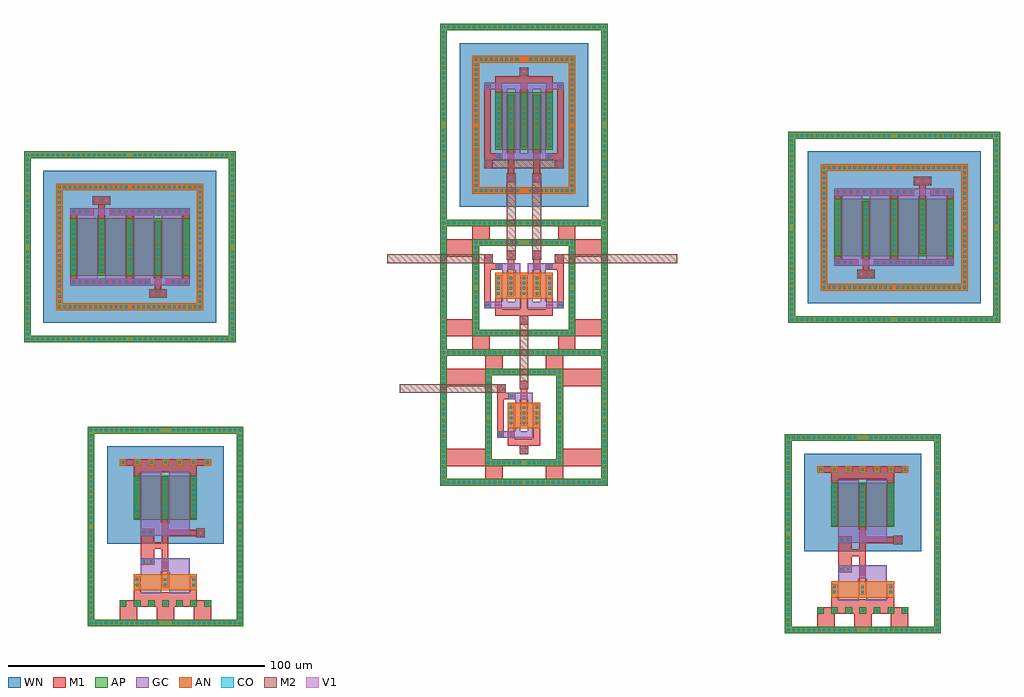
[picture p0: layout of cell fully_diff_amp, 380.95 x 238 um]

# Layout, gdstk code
from math import pi, radians
import gdstk
lib = gdstk.Library(unit=1e-6, precision=1e-09)
def R(c, l, rs):  # rectangles x0, y0, x1, y1
    for r in rs: c.add(gdstk.rectangle(r[:2], r[2:], *l))
def A(c, l, x, y, w, h, nx, ny, dx, dy):  # array of equal rectangles
    R(c, l, [(x+i*dx, y+j*dy, x+i*dx+w, y+j*dy+h) for i in range(nx) for j in range(ny)])
def P(c, l, *ps):  # polygons
    for p in ps: c.add(gdstk.Polygon(p, *l))
AP = (3, 1)
AN = (3, 2)
GC = (8, 1)
CO = (11, 0)
M1 = (13, 0)
V1 = (19, 0)
M2 = (20, 0)
WN = (140, 0)

fet_p_1 = lib.new_cell('fet_p$1')
R(fet_p_1, AP, [(-12.3,-8.6,12.3,8.6)])
A(fet_p_1, CO, -11.5, -7.5, 1, 1, 3, 8, 11, 2)
A(fet_p_1, M1, -12.3, -8.3, 2.6, 16.6, 3, 1, 11, 0)
fet_p_1.add(gdstk.FlexPath([(5.5,-9.8),(5.5,9.8)], 8, ends="flush", simple_path=True, layer=8, datatype=1))  # GC
fet_p_1.add(gdstk.FlexPath([(-5.5,-9.8),(-5.5,9.8)], 8, ends="flush", simple_path=True, layer=8, datatype=1))  # GC

fet_n_2 = lib.new_cell('fet_n$2')
R(fet_n_2, AN, [(-12.3,-3.15,12.3,3.15)])
A(fet_n_2, CO, -11.5, -1.5, 1, 1, 3, 2, 11, 2)
A(fet_n_2, M1, -12.3, -2.3, 2.6, 4.6, 3, 1, 11, 0)
fet_n_2.add(gdstk.FlexPath([(5.5,-4.35),(5.5,4.35)], 8, ends="flush", simple_path=True, layer=8, datatype=1))  # GC
fet_n_2.add(gdstk.FlexPath([(-5.5,-4.35),(-5.5,4.35)], 8, ends="flush", simple_path=True, layer=8, datatype=1))  # GC

cont_p_8 = lib.new_cell('cont_p$8')
P(cont_p_8, AP, [(-30.4,-38.9),(-30.4,36.3),(-27.8,36.3),(-27.8,-36.3),(27.8,-36.3),(27.8,36.3),(-30.4,36.3),(-30.4,38.9),(30.4,38.9),(30.4,-38.9)])
A(cont_p_8, CO, -29.6, -38.1, 1, 1, 1, 19, 0, 2)
A(cont_p_8, CO, -29.6, -38.1, 1, 1, 14, 2, 2, 75.2)
A(cont_p_8, CO, 2.6, -38.1, 1, 1, 14, 2, 2, 75.2)
A(cont_p_8, CO, 28.6, -38.1, 1, 1, 1, 19, 0, 2)
A(cont_p_8, CO, -29.6, 1.1, 1, 1, 1, 19, 0, 2)
A(cont_p_8, CO, 28.6, 1.1, 1, 1, 1, 19, 0, 2)
P(cont_p_8, M1, [(-30.4,-38.9),(-30.4,36.3),(-27.8,36.3),(-27.8,-36.3),(27.8,-36.3),(27.8,36.3),(-30.4,36.3),(-30.4,38.9),(30.4,38.9),(30.4,-38.9)])

cont_g_1 = lib.new_cell('cont_g$1')
R(cont_g_1, GC, [(-1.3,-1.3,1.3,1.3)])
R(cont_g_1, CO, [(-0.5,-0.5,0.5,0.5)])
R(cont_g_1, M1, [(-1.3,-1.3,1.3,1.3)])

cont_n_5 = lib.new_cell('cont_n$5')
R(cont_n_5, AN, [(-1.3,-1.3,1.3,1.3)])
R(cont_n_5, CO, [(-0.5,-0.5,0.5,0.5)])
R(cont_n_5, M1, [(-1.3,-1.3,1.3,1.3)])

cont_p_6 = lib.new_cell('cont_p$6')
R(cont_p_6, AP, [(-1.3,-1.3,1.3,1.3)])
R(cont_p_6, CO, [(-0.5,-0.5,0.5,0.5)])
R(cont_p_6, M1, [(-1.3,-1.3,1.3,1.3)])

via_1_1 = lib.new_cell('via_1$1')
R(via_1_1, M1, [(-1.7,-1.7,1.7,1.7)])
R(via_1_1, V1, [(-0.7,-0.7,0.7,0.7)])
R(via_1_1, M2, [(-1.7,-1.7,1.7,1.7)])

inv_bias = lib.new_cell('inv_bias')
R(inv_bias, WN, [(-24.25,5.2,21.35,43.3)])
inv_bias.add(gdstk.FlexPath([(-8.45,-0.4),(-8.45,8.5)], 5.2, ends="flush", simple_path=True, layer=13, datatype=0))  # M1
inv_bias.add(gdstk.FlexPath([(13.75,37),(-16.65,37)], 2.6, ends="flush", simple_path=True, layer=13, datatype=0))  # M1
inv_bias.add(gdstk.FlexPath([(9.45,31.6),(9.45,34.5),(-12.55,34.5),(-12.55,31.6)], 2.6, ends="flush", simple_path=True, layer=13, datatype=0))  # M1
inv_bias.add(gdstk.FlexPath([(-1.55,15),(-1.55,-7.45)], 2.6, ends="flush", simple_path=True, layer=13, datatype=0))  # M1
inv_bias.add(gdstk.FlexPath([(-2.85,4.55),(-5.85,4.55)], 2.6, ends="flush", simple_path=True, layer=13, datatype=0))  # M1
inv_bias.add(gdstk.FlexPath([(-16.65,-18),(13.75,-18)], 2.6, ends="flush", simple_path=True, layer=13, datatype=0))  # M1
inv_bias.add(gdstk.FlexPath([(-13.85,-16.25),(10.75,-16.25)], 2.6, ends="flush", simple_path=True, layer=13, datatype=0))  # M1
inv_bias.add(gdstk.FlexPath([(-12.55,-12.05),(-12.55,-14.95),(9.45,-14.95),(9.45,-12.05)], 2.6, ends="flush", simple_path=True, layer=13, datatype=0))  # M1
inv_bias.add(gdstk.FlexPath([(10.5,9.5),(-0.25,9.5)], 2.6, ends="flush", simple_path=True, layer=13, datatype=0))  # M1
inv_bias.add(gdstk.FlexPath([(-15.85,-24.3),(-15.85,-19.3)], 6.8, ends="flush", simple_path=True, layer=13, datatype=0))  # M1
inv_bias.add(gdstk.FlexPath([(12.95,-24.3),(12.95,-19.3)], 6.8, ends="flush", simple_path=True, layer=13, datatype=0))  # M1
inv_bias.add(gdstk.FlexPath([(-1.45,-24.3),(-1.45,-19.3)], 6.8, ends="flush", simple_path=True, layer=13, datatype=0))  # M1
inv_bias.add(gdstk.FlexPath([(-11.05,11),(7.95,11)], 5, ends="flush", simple_path=True, layer=8, datatype=1))  # GC
inv_bias.add(gdstk.FlexPath([(-11.05,-2.9),(7.95,-2.9)], 5, ends="flush", simple_path=True, layer=8, datatype=1))  # GC
inv_bias.add(gdstk.Reference(fet_p_1, (-1.55,23.3)))
inv_bias.add(gdstk.Reference(fet_n_2, (-1.55,-9.75)))
inv_bias.add(gdstk.Reference(cont_p_8, (-1.45,12)))
inv_bias.add(gdstk.Reference(cont_g_1, (-9.75,9.8)))
inv_bias.add(gdstk.Reference(cont_g_1, (-7.15,9.8)))
inv_bias.add(gdstk.Reference(cont_g_1, (-9.75,-1.7)))
r = gdstk.Reference(cont_n_5, (-17.95,37)); r.repetition = gdstk.Repetition(7, 1, v1=(5.5,0), v2=(0,0)); inv_bias.add(r)
inv_bias.add(gdstk.Reference(cont_g_1, (-7.15,-1.7)))
r = gdstk.Reference(cont_p_6, (-17.95,-18)); r.repetition = gdstk.Repetition(7, 1, v1=(5.5,0), v2=(0,0)); inv_bias.add(r)
inv_bias.add(gdstk.Reference(via_1_1, (12.2,9.55)))

fet_n_4 = lib.new_cell('fet_n$4')
R(fet_n_4, AN, [(-6.3,-5,6.3,5)])
A(fet_n_4, CO, -5.5, -3.5, 1, 1, 3, 4, 5, 2)
A(fet_n_4, M1, -6.3, -4.3, 2.6, 8.6, 3, 1, 5, 0)
fet_n_4.add(gdstk.FlexPath([(2.5,-6.2),(2.5,6.2)], 2, ends="flush", simple_path=True, layer=8, datatype=1))  # GC
fet_n_4.add(gdstk.FlexPath([(-2.5,-6.2),(-2.5,6.2)], 2, ends="flush", simple_path=True, layer=8, datatype=1))  # GC

cont_p_12 = lib.new_cell('cont_p$12')
P(cont_p_12, AP, [(-20.1,-19),(-20.1,16.4),(-17.5,16.4),(-17.5,-16.4),(17.5,-16.4),(17.5,16.4),(-20.1,16.4),(-20.1,19),(20.1,19),(20.1,-19)])
A(cont_p_12, CO, -19.3, -18.2, 1, 1, 1, 9, 0, 2)
A(cont_p_12, CO, -19.3, -18.2, 1, 1, 9, 2, 2, 35.4)
A(cont_p_12, CO, 2.3, -18.2, 1, 1, 9, 2, 2, 35.4)
A(cont_p_12, CO, 18.3, -18.2, 1, 1, 1, 9, 0, 2)
A(cont_p_12, CO, -19.3, 1.2, 1, 1, 1, 9, 0, 2)
A(cont_p_12, CO, 18.3, 1.2, 1, 1, 1, 9, 0, 2)
P(cont_p_12, M1, [(-20.1,-19),(-20.1,16.4),(-17.5,16.4),(-17.5,-16.4),(17.5,-16.4),(17.5,16.4),(-20.1,16.4),(-20.1,19),(20.1,19),(20.1,-19)])

cont_p_15 = lib.new_cell('cont_p$15')
P(cont_p_15, AP, [(-32.7,-26.6),(-32.7,24),(-30.1,24),(-30.1,-24),(30.1,-24),(30.1,24),(-32.7,24),(-32.7,26.6),(32.7,26.6),(32.7,-26.6)])
A(cont_p_15, CO, -31.9, -25.8, 1, 1, 1, 13, 0, 2)
A(cont_p_15, CO, -31.9, -25.8, 1, 1, 16, 2, 2, 50.6)
A(cont_p_15, CO, 0.9, -25.8, 1, 1, 16, 2, 2, 50.6)
A(cont_p_15, CO, 30.9, -25.8, 1, 1, 1, 13, 0, 2)
A(cont_p_15, CO, -31.9, 0.8, 1, 1, 1, 13, 0, 2)
A(cont_p_15, CO, 30.9, 0.8, 1, 1, 1, 13, 0, 2)
P(cont_p_15, M1, [(-32.7,-26.6),(-32.7,24),(-30.1,24),(-30.1,-24),(30.1,-24),(30.1,24),(-32.7,24),(-32.7,26.6),(32.7,26.6),(32.7,-26.6)])

n_diff_amp_pair = lib.new_cell('n_diff_amp_pair')
n_diff_amp_pair.add(gdstk.FlexPath([(-10,-3.5),(-10,-9.7),(0,-9.7),(0,-3.5)], 2.6, ends="flush", simple_path=True, layer=13, datatype=0))  # M1
n_diff_amp_pair.add(gdstk.FlexPath([(10,-3.5),(10,-9.7),(1.3,-9.7)], 2.6, ends="flush", simple_path=True, layer=13, datatype=0))  # M1
n_diff_amp_pair.add(gdstk.FlexPath([(-11.1,8.3),(-14.2,8.3),(-14.2,-5.4)], 2.6, ends="flush", simple_path=True, layer=13, datatype=0))  # M1
n_diff_amp_pair.add(gdstk.FlexPath([(11.1,8.3),(14.2,8.3),(14.2,-5.4)], 2.6, ends="flush", simple_path=True, layer=13, datatype=0))  # M1
n_diff_amp_pair.add(gdstk.FlexPath([(-5,5.1),(-5,11)], 2.6, ends="flush", simple_path=True, layer=13, datatype=0))  # M1
n_diff_amp_pair.add(gdstk.FlexPath([(5,5.1),(5,11)], 2.6, ends="flush", simple_path=True, layer=13, datatype=0))  # M1
n_diff_amp_pair.add(gdstk.FlexPath([(-16.7,19),(-16.7,24)], 6.8, ends="flush", simple_path=True, layer=13, datatype=0))  # M1
n_diff_amp_pair.add(gdstk.FlexPath([(-16.7,-24),(-16.7,-19)], 6.8, ends="flush", simple_path=True, layer=13, datatype=0))  # M1
n_diff_amp_pair.add(gdstk.FlexPath([(16.7,19),(16.7,24)], 6.8, ends="flush", simple_path=True, layer=13, datatype=0))  # M1
n_diff_amp_pair.add(gdstk.FlexPath([(16.7,-24),(16.7,-19)], 6.8, ends="flush", simple_path=True, layer=13, datatype=0))  # M1
n_diff_amp_pair.add(gdstk.FlexPath([(20.1,15.6),(30.1,15.6)], 6.8, ends="flush", simple_path=True, layer=13, datatype=0))  # M1
n_diff_amp_pair.add(gdstk.FlexPath([(20.1,-15.6),(30.1,-15.6)], 6.8, ends="flush", simple_path=True, layer=13, datatype=0))  # M1
n_diff_amp_pair.add(gdstk.FlexPath([(-30.1,15.6),(-20.1,15.6)], 6.8, ends="flush", simple_path=True, layer=13, datatype=0))  # M1
n_diff_amp_pair.add(gdstk.FlexPath([(-30.1,-15.6),(-20.1,-15.6)], 6.8, ends="flush", simple_path=True, layer=13, datatype=0))  # M1
n_diff_amp_pair.add(gdstk.FlexPath([(-12.9,-6.7),(-1.5,-6.7)], 2.6, ends="flush", simple_path=True, layer=8, datatype=1))  # GC
n_diff_amp_pair.add(gdstk.FlexPath([(12.9,-6.7),(1.5,-6.7)], 2.6, ends="flush", simple_path=True, layer=8, datatype=1))  # GC
n_diff_amp_pair.add(gdstk.FlexPath([(-8.5,8.3),(-1.5,8.3)], 2.6, ends="flush", simple_path=True, layer=8, datatype=1))  # GC
n_diff_amp_pair.add(gdstk.FlexPath([(1.5,8.3),(8.5,8.3)], 2.6, ends="flush", simple_path=True, layer=8, datatype=1))  # GC
n_diff_amp_pair.add(gdstk.Reference(fet_n_4, (-5,0.8)))
n_diff_amp_pair.add(gdstk.Reference(fet_n_4, (5,0.8)))
n_diff_amp_pair.add(gdstk.Reference(cont_g_1, (-14.2,-6.7)))
n_diff_amp_pair.add(gdstk.Reference(cont_g_1, (14.2,-6.7)))
n_diff_amp_pair.add(gdstk.Reference(cont_g_1, (-9.8,8.3)))
n_diff_amp_pair.add(gdstk.Reference(cont_g_1, (9.8,8.3)))
n_diff_amp_pair.add(gdstk.Reference(via_1_1, (-13.8,11.3)))
n_diff_amp_pair.add(gdstk.Reference(via_1_1, (13.8,11.3)))
n_diff_amp_pair.add(gdstk.Reference(via_1_1, (-5,12.7)))
n_diff_amp_pair.add(gdstk.Reference(via_1_1, (5,12.7)))
n_diff_amp_pair.add(gdstk.Reference(via_1_1, (0,-12.7)))
n_diff_amp_pair.add(gdstk.Reference(cont_p_12, (0,0)))
n_diff_amp_pair.add(gdstk.Reference(cont_p_15, (0,0)))

fet_p_2 = lib.new_cell('fet_p$2')
R(fet_p_2, AP, [(-12.3,-11.25,12.3,11.25)])
A(fet_p_2, CO, -11.5, -9.5, 1, 1, 3, 10, 11, 2)
A(fet_p_2, M1, -12.3, -10.3, 2.6, 20.6, 3, 1, 11, 0)
fet_p_2.add(gdstk.FlexPath([(5.5,-12.45),(5.5,12.45)], 8, ends="flush", simple_path=True, layer=8, datatype=1))  # GC
fet_p_2.add(gdstk.FlexPath([(-5.5,-12.45),(-5.5,12.45)], 8, ends="flush", simple_path=True, layer=8, datatype=1))  # GC

cont_p_7 = lib.new_cell('cont_p$7')
P(cont_p_7, AP, [(-41.3,-37.25),(-41.3,34.65),(-38.7,34.65),(-38.7,-34.65),(38.7,-34.65),(38.7,34.65),(-41.3,34.65),(-41.3,37.25),(41.3,37.25),(41.3,-37.25)])
A(cont_p_7, CO, -40.5, -36.45, 1, 1, 1, 18, 0, 2)
A(cont_p_7, CO, -40.5, -36.45, 1, 1, 20, 2, 2, 71.9)
A(cont_p_7, CO, 1.5, -36.45, 1, 1, 20, 2, 2, 71.9)
A(cont_p_7, CO, 39.5, -36.45, 1, 1, 1, 18, 0, 2)
A(cont_p_7, CO, -40.5, 1.45, 1, 1, 1, 18, 0, 2)
A(cont_p_7, CO, 39.5, 1.45, 1, 1, 1, 18, 0, 2)
P(cont_p_7, M1, [(-41.3,-37.25),(-41.3,34.65),(-38.7,34.65),(-38.7,-34.65),(38.7,-34.65),(38.7,34.65),(-41.3,34.65),(-41.3,37.25),(41.3,37.25),(41.3,-37.25)])

cont_n_2 = lib.new_cell('cont_n$2')
P(cont_n_2, AN, [(-28.7,-24.65),(-28.7,22.05),(-26.1,22.05),(-26.1,-22.05),(26.1,-22.05),(26.1,22.05),(-28.7,22.05),(-28.7,24.65),(28.7,24.65),(28.7,-24.65)])
A(cont_n_2, CO, -27.9, -23.85, 1, 1, 1, 12, 0, 2)
A(cont_n_2, CO, -27.9, -23.85, 1, 1, 14, 2, 2, 46.7)
A(cont_n_2, CO, 0.9, -23.85, 1, 1, 14, 2, 2, 46.7)
A(cont_n_2, CO, 26.9, -23.85, 1, 1, 1, 12, 0, 2)
A(cont_n_2, CO, -27.9, 0.85, 1, 1, 1, 12, 0, 2)
A(cont_n_2, CO, 26.9, 0.85, 1, 1, 1, 12, 0, 2)
P(cont_n_2, M1, [(-28.7,-24.65),(-28.7,22.05),(-26.1,22.05),(-26.1,-22.05),(26.1,-22.05),(26.1,22.05),(-28.7,22.05),(-28.7,24.65),(28.7,24.65),(28.7,-24.65)])

pseudo_res = lib.new_cell('pseudo_res')
R(pseudo_res, WN, [(-33.7,-29.65,33.7,29.65)])
pseudo_res.add(gdstk.FlexPath([(0,-10.3),(0,-12.45)], 2.6, ends="flush", simple_path=True, layer=13, datatype=0))  # M1
pseudo_res.add(gdstk.FlexPath([(0,10.3),(0,12.45)], 2.6, ends="flush", simple_path=True, layer=13, datatype=0))  # M1
pseudo_res.add(gdstk.FlexPath([(-22,-12.45),(-22,-10.3),(-22,-10.3)], 2.6, ends="flush", simple_path=True, layer=13, datatype=0))  # M1
pseudo_res.add(gdstk.FlexPath([(11,-10.3),(11,-16.45)], 2.6, ends="flush", simple_path=True, layer=13, datatype=0))  # M1
pseudo_res.add(gdstk.FlexPath([(-11,15.05),(-11,10.3)], 2.6, ends="flush", simple_path=True, layer=13, datatype=0))  # M1
pseudo_res.add(gdstk.FlexPath([(22,10.3),(22,12.45)], 2.6, ends="flush", simple_path=True, layer=13, datatype=0))  # M1
pseudo_res.add(gdstk.FlexPath([(22,-12.45),(22,-10.3)], 2.6, ends="flush", simple_path=True, layer=13, datatype=0))  # M1
pseudo_res.add(gdstk.FlexPath([(-22,10.3),(-22,12.45)], 2.6, ends="flush", simple_path=True, layer=13, datatype=0))  # M1
pseudo_res.add(gdstk.FlexPath([(-15.5,13.75),(-14.1,13.75)], 2.6, ends="flush", simple_path=True, layer=13, datatype=0))  # M1
pseudo_res.add(gdstk.FlexPath([(15.5,-13.75),(14.1,-13.75)], 2.6, ends="flush", simple_path=True, layer=13, datatype=0))  # M1
pseudo_res.add(gdstk.FlexPath([(-11,15.05),(-11,16.45)], 2.6, ends="flush", simple_path=True, layer=13, datatype=0))  # M1
pseudo_res.add(gdstk.FlexPath([(15.5,-13.75),(7.9,-13.75)], 2.6, ends="flush", simple_path=True, layer=8, datatype=1))  # GC
pseudo_res.add(gdstk.FlexPath([(-7.9,13.75),(-15.5,13.75)], 2.6, ends="flush", simple_path=True, layer=8, datatype=1))  # GC
pseudo_res.add(gdstk.Reference(fet_p_2, (11,0)))
pseudo_res.add(gdstk.Reference(fet_p_2, (-11,0)))
r = gdstk.Reference(cont_g_1, (-6.6,13.75)); r.repetition = gdstk.Repetition(12, 1, v1=(2.6,0), v2=(0,0)); pseudo_res.add(r)
r = gdstk.Reference(cont_g_1, (16.8,-13.75)); r.repetition = gdstk.Repetition(3, 1, v1=(2.6,0), v2=(0,0)); pseudo_res.add(r)
r = gdstk.Reference(cont_g_1, (-22,13.75)); r.repetition = gdstk.Repetition(3, 1, v1=(2.6,0), v2=(0,0)); pseudo_res.add(r)
r = gdstk.Reference(cont_g_1, (-22,-13.75)); r.repetition = gdstk.Repetition(12, 1, v1=(2.6,0), v2=(0,0)); pseudo_res.add(r)
pseudo_res.add(gdstk.Reference(cont_p_7, (0,0)))
pseudo_res.add(gdstk.Reference(cont_n_2, (0,0)))
pseudo_res.add(gdstk.Reference(via_1_1, (-12.7,18.15)))
pseudo_res.add(gdstk.Reference(via_1_1, (-9.3,18.15)))
pseudo_res.add(gdstk.Reference(via_1_1, (9.3,-18.15)))
pseudo_res.add(gdstk.Reference(via_1_1, (12.7,-18.15)))

cont_p_5 = lib.new_cell('cont_p$5')
P(cont_p_5, AP, [(-15.2,-19),(-15.2,16.4),(-12.6,16.4),(-12.6,-16.4),(12.6,-16.4),(12.6,16.4),(-15.2,16.4),(-15.2,19),(15.2,19),(15.2,-19)])
A(cont_p_5, CO, -14.4, -18.2, 1, 1, 1, 9, 0, 2)
A(cont_p_5, CO, -14.4, -18.2, 1, 1, 7, 2, 2, 35.4)
A(cont_p_5, CO, 1.4, -18.2, 1, 1, 7, 2, 2, 35.4)
A(cont_p_5, CO, 13.4, -18.2, 1, 1, 1, 9, 0, 2)
A(cont_p_5, CO, -14.4, 1.2, 1, 1, 1, 9, 0, 2)
A(cont_p_5, CO, 13.4, 1.2, 1, 1, 1, 9, 0, 2)
P(cont_p_5, M1, [(-15.2,-19),(-15.2,16.4),(-12.6,16.4),(-12.6,-16.4),(12.6,-16.4),(12.6,16.4),(-15.2,16.4),(-15.2,19),(15.2,19),(15.2,-19)])

n_tail = lib.new_cell('n_tail')
n_tail.add(gdstk.FlexPath([(-5,-2.05),(-5,-8.25),(5,-8.25),(5,-2.05)], 2.6, ends="flush", simple_path=True, layer=13, datatype=0))  # M1
n_tail.add(gdstk.FlexPath([(-6.1,9.75),(-9.2,9.75),(-9.2,-3.95)], 2.6, ends="flush", simple_path=True, layer=13, datatype=0))  # M1
n_tail.add(gdstk.FlexPath([(0,6.55),(0,12.45)], 2.6, ends="flush", simple_path=True, layer=13, datatype=0))  # M1
n_tail.add(gdstk.FlexPath([(-11.7,20.45),(-11.7,25.45)], 6.8, ends="flush", simple_path=True, layer=13, datatype=0))  # M1
n_tail.add(gdstk.FlexPath([(-15.1,17.05),(-30.1,17.05)], 6.8, ends="flush", simple_path=True, layer=13, datatype=0))  # M1
n_tail.add(gdstk.FlexPath([(-15.1,-14.15),(-30.1,-14.15)], 6.8, ends="flush", simple_path=True, layer=13, datatype=0))  # M1
n_tail.add(gdstk.FlexPath([(-11.7,-17.55),(-11.7,-22.55)], 6.8, ends="flush", simple_path=True, layer=13, datatype=0))  # M1
n_tail.add(gdstk.FlexPath([(11.85,-17.55),(11.85,-22.55)], 6.8, ends="flush", simple_path=True, layer=13, datatype=0))  # M1
n_tail.add(gdstk.FlexPath([(15.25,-14.15),(30.1,-14.15)], 6.8, ends="flush", simple_path=True, layer=13, datatype=0))  # M1
n_tail.add(gdstk.FlexPath([(15.25,17.05),(30.1,17.05)], 6.8, ends="flush", simple_path=True, layer=13, datatype=0))  # M1
n_tail.add(gdstk.FlexPath([(11.85,20.45),(11.85,25.45)], 6.8, ends="flush", simple_path=True, layer=13, datatype=0))  # M1
n_tail.add(gdstk.FlexPath([(-7.9,-5.25),(3.5,-5.25)], 2.6, ends="flush", simple_path=True, layer=8, datatype=1))  # GC
n_tail.add(gdstk.FlexPath([(-3.5,9.75),(3.5,9.75)], 2.6, ends="flush", simple_path=True, layer=8, datatype=1))  # GC
n_tail.add(gdstk.Reference(fet_n_4, (0,2.25)))
n_tail.add(gdstk.Reference(cont_g_1, (-9.2,-5.25)))
n_tail.add(gdstk.Reference(cont_g_1, (-4.8,9.75)))
n_tail.add(gdstk.Reference(via_1_1, (-8.8,12.75)))
n_tail.add(gdstk.Reference(via_1_1, (0,14.15)))
n_tail.add(gdstk.Reference(via_1_1, (0,-11.25)))
n_tail.add(gdstk.Reference(cont_p_5, (0.05,1.45)))
n_tail.add(gdstk.Reference(cont_p_15, (0,1.45)))

cont_p_11 = lib.new_cell('cont_p$11')
P(cont_p_11, AP, [(-32.7,-39.55),(-32.7,36.95),(-30.1,36.95),(-30.1,-36.95),(30.1,-36.95),(30.1,36.95),(-32.7,36.95),(-32.7,39.55),(32.7,39.55),(32.7,-39.55)])
A(cont_p_11, CO, -31.9, -38.75, 1, 1, 1, 19, 0, 2)
A(cont_p_11, CO, -31.9, -38.75, 1, 1, 16, 2, 2, 76.5)
A(cont_p_11, CO, 0.9, -38.75, 1, 1, 16, 2, 2, 76.5)
A(cont_p_11, CO, 30.9, -38.75, 1, 1, 1, 19, 0, 2)
A(cont_p_11, CO, -31.9, 1.75, 1, 1, 1, 19, 0, 2)
A(cont_p_11, CO, 30.9, 1.75, 1, 1, 1, 19, 0, 2)
P(cont_p_11, M1, [(-32.7,-39.55),(-32.7,36.95),(-30.1,36.95),(-30.1,-36.95),(30.1,-36.95),(30.1,36.95),(-32.7,36.95),(-32.7,39.55),(32.7,39.55),(32.7,-39.55)])

fet_p_3 = lib.new_cell('fet_p$3')
R(fet_p_3, AP, [(-6.3,-11.25,6.3,11.25)])
A(fet_p_3, CO, -5.5, -9.5, 1, 1, 3, 10, 5, 2)
A(fet_p_3, M1, -6.3, -10.3, 2.6, 20.6, 3, 1, 5, 0)
fet_p_3.add(gdstk.FlexPath([(2.5,-12.45),(2.5,12.45)], 2, ends="flush", simple_path=True, layer=8, datatype=1))  # GC
fet_p_3.add(gdstk.FlexPath([(-2.5,-12.45),(-2.5,12.45)], 2, ends="flush", simple_path=True, layer=8, datatype=1))  # GC

cont_n_4 = lib.new_cell('cont_n$4')
P(cont_n_4, AN, [(-20.1,-26.95),(-20.1,24.35),(-17.5,24.35),(-17.5,-24.35),(17.5,-24.35),(17.5,24.35),(-20.1,24.35),(-20.1,26.95),(20.1,26.95),(20.1,-26.95)])
A(cont_n_4, CO, -19.3, -26.15, 1, 1, 1, 13, 0, 2)
A(cont_n_4, CO, -19.3, -26.15, 1, 1, 9, 2, 2, 51.3)
A(cont_n_4, CO, 2.3, -26.15, 1, 1, 9, 2, 2, 51.3)
A(cont_n_4, CO, 18.3, -26.15, 1, 1, 1, 13, 0, 2)
A(cont_n_4, CO, -19.3, 1.15, 1, 1, 1, 13, 0, 2)
A(cont_n_4, CO, 18.3, 1.15, 1, 1, 1, 13, 0, 2)
P(cont_n_4, M1, [(-20.1,-26.95),(-20.1,24.35),(-17.5,24.35),(-17.5,-24.35),(17.5,-24.35),(17.5,24.35),(-20.1,24.35),(-20.1,26.95),(20.1,26.95),(20.1,-26.95)])

p_current_source_pair = lib.new_cell('p_current_source_pair')
R(p_current_source_pair, WN, [(-25.1,-31.95,25.1,31.95)])
p_current_source_pair.add(gdstk.FlexPath([(10,11.8),(10,17.65),(1.3,17.65)], 2.6, ends="flush", simple_path=True, layer=13, datatype=0))  # M1
p_current_source_pair.add(gdstk.FlexPath([(-10,11.8),(-10,17.65),(0,17.65),(0,11.8)], 2.6, ends="flush", simple_path=True, layer=13, datatype=0))  # M1
p_current_source_pair.add(gdstk.FlexPath([(5,-8.8),(5,-18.95)], 2.6, ends="flush", simple_path=True, layer=13, datatype=0))  # M1
p_current_source_pair.add(gdstk.FlexPath([(-5,-8.8),(-5,-18.95)], 2.6, ends="flush", simple_path=True, layer=13, datatype=0))  # M1
p_current_source_pair.add(gdstk.FlexPath([(11.1,-12.25),(14.2,-12.25),(14.2,13.95)], 2.6, ends="flush", simple_path=True, layer=13, datatype=0))  # M1
p_current_source_pair.add(gdstk.FlexPath([(-14.2,13.95),(-14.2,-12.25),(-11.1,-12.25)], 2.6, ends="flush", simple_path=True, layer=13, datatype=0))  # M1
p_current_source_pair.add(gdstk.FlexPath([(-8.5,-12.25),(8.5,-12.25)], 2.6, ends="flush", simple_path=True, layer=8, datatype=1))  # GC
p_current_source_pair.add(gdstk.FlexPath([(-12.9,15.25),(12.9,15.25)], 2.6, ends="flush", simple_path=True, layer=8, datatype=1))  # GC
p_current_source_pair.add(gdstk.FlexPath([(12.1,-15.25),(-12.1,-15.25)], 3.4, ends="flush", simple_path=True, layer=20, datatype=0))  # M2
p_current_source_pair.add(gdstk.Reference(cont_p_11, (0,0)))
p_current_source_pair.add(gdstk.Reference(via_1_1, (5,-20.65)))
p_current_source_pair.add(gdstk.Reference(via_1_1, (-5,-20.65)))
p_current_source_pair.add(gdstk.Reference(via_1_1, (0,20.65)))
p_current_source_pair.add(gdstk.Reference(via_1_1, (13.8,-15.25)))
p_current_source_pair.add(gdstk.Reference(via_1_1, (-13.8,-15.25)))
p_current_source_pair.add(gdstk.Reference(cont_g_1, (14.2,15.25)))
p_current_source_pair.add(gdstk.Reference(cont_g_1, (-14.2,15.25)))
p_current_source_pair.add(gdstk.Reference(cont_g_1, (9.8,-12.25)))
p_current_source_pair.add(gdstk.Reference(cont_g_1, (-9.8,-12.25)))
p_current_source_pair.add(gdstk.Reference(fet_p_3, (5,1.5)))
p_current_source_pair.add(gdstk.Reference(fet_p_3, (-5,1.5)))
p_current_source_pair.add(gdstk.Reference(cont_n_4, (0,0)))

fully_diff_amp = lib.new_cell('fully_diff_amp')
fully_diff_amp.add(gdstk.FlexPath([(-58.45,46.8),(-58.45,20)], 3.4, ends="flush", simple_path=True, layer=20, datatype=0))  # M2
fully_diff_amp.add(gdstk.FlexPath([(-48.45,46.8),(-48.45,20)], 3.4, ends="flush", simple_path=True, layer=20, datatype=0))  # M2
fully_diff_amp.add(gdstk.FlexPath([(-63.95,-33.7),(-101.9,-33.7)], 3.4, ends="flush", simple_path=True, layer=20, datatype=0))  # M2
fully_diff_amp.add(gdstk.FlexPath([(-53.45,-8.8),(-53.45,-30.6)], 3.4, ends="flush", simple_path=True, layer=20, datatype=0))  # M2
fully_diff_amp.add(gdstk.FlexPath([(-68.95,16.9),(-106.9,16.9)], 3.4, ends="flush", simple_path=True, layer=20, datatype=0))  # M2
fully_diff_amp.add(gdstk.FlexPath([(-37.95,16.9),(6.3,16.9)], 3.4, ends="flush", simple_path=True, layer=20, datatype=0))  # M2
fully_diff_amp.add(gdstk.Reference(inv_bias, (-191.95,-99.6)))
fully_diff_amp.add(gdstk.Reference(n_diff_amp_pair, (-53.45,5.6)))
fully_diff_amp.add(gdstk.Reference(pseudo_res, (91.05,29.15), rotation=pi, x_reflection=True))
fully_diff_amp.add(gdstk.Reference(pseudo_res, (-207.3,21.55)))
fully_diff_amp.add(gdstk.Reference(inv_bias, (80.25,-102.4)))
fully_diff_amp.add(gdstk.Reference(n_tail, (-53.45,-46.45)))
fully_diff_amp.add(gdstk.Reference(p_current_source_pair, (-53.45,69.15)))

lib.write_gds('fully_diff_amp.gds')
